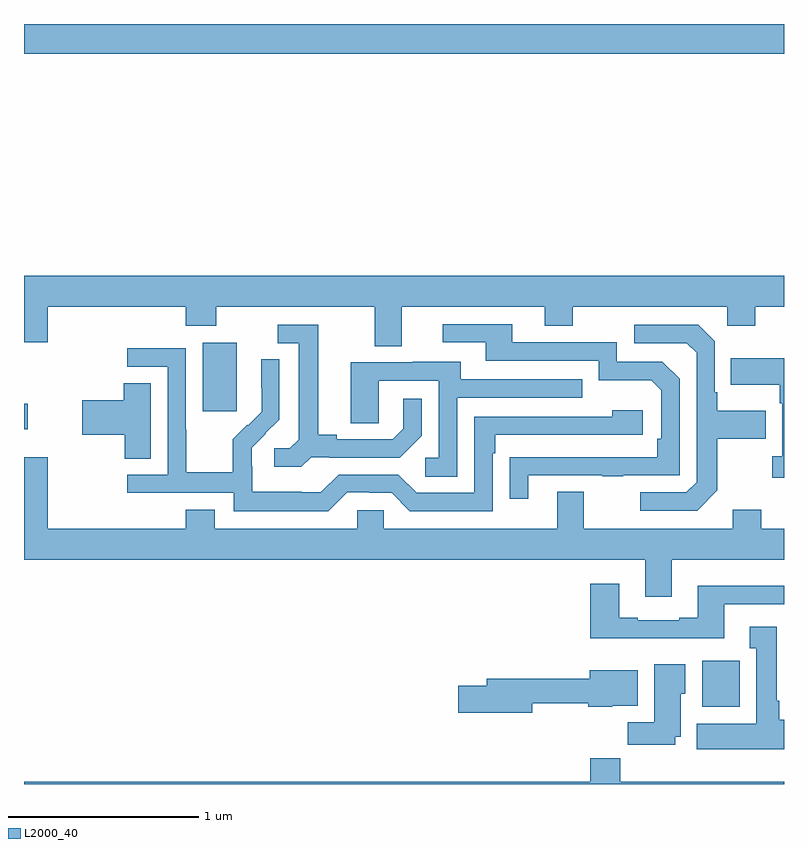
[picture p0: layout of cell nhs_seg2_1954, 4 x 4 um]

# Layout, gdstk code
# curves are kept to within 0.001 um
import gdstk
lib = gdstk.Library(unit=1e-6, precision=1e-09)
def R(c, l, rs):  # rectangles x0, y0, x1, y1
    for r in rs: c.add(gdstk.rectangle(r[:2], r[2:], *l))
def P(c, l, *ps):  # polygons
    for p in ps: c.add(gdstk.Polygon(p, *l))
L2000_40 = (2000, 40)

nhs_seg2_1954 = lib.new_cell('nhs_seg2_1954')
R(nhs_seg2_1954, L2000_40, [(216.569,636.206,216.766,636.448), (213,637.667,213.019,637.802), (213.941,637.761,214.12,638.122), (213,639.644,217,639.8)])
P(nhs_seg2_1954, L2000_40, [(214.987,638.312),(215.741,638.312),(215.741,638.213),(215.889,638.213),(215.889,638.312),(216.702,638.312),(216.702,638.213),(216.849,638.213),(216.849,638.312),(217,638.312),(217,638.476),(213,638.476),(213,638.124),(213.124,638.124),(213.124,638.312),(213.851,638.312),(213.851,638.213),(214.011,638.213),(214.011,638.312),(214.847,638.312),(214.847,638.104),(214.987,638.104)],
  [(215.653,637.425),(216.043,637.425),(216.043,637.42),(216.155,637.42),(216.155,637.425),(216.45,637.425),(216.45,637.932),(216.36,638.022),(216.12,638.022),(216.12,638.124),(215.569,638.124),(215.569,638.22),(215.205,638.22),(215.205,638.124),(215.429,638.124),(215.429,638.028),(216.024,638.028),(216.024,637.925),(216.301,637.925),(216.354,637.872),(216.354,637.618),(216.334,637.618),(216.334,637.521),(215.557,637.52),(215.557,637.302),(215.653,637.302)],
  [(214.512,637.521),(214.606,637.521),(214.606,637.518),(214.978,637.518),(215.094,637.634),(215.094,637.828),(214.997,637.828),(214.997,637.671),(214.94,637.614),(214.645,637.614),(214.645,637.637),(214.549,637.637),(214.549,638.217),(214.335,638.217),(214.335,638.121),(214.445,638.121),(214.445,637.613),(214.398,637.566),(214.317,637.566),(214.317,637.469),(214.46,637.469)],
  [(216.649,637.345),(216.649,637.618),(216.905,637.618),(216.905,637.765),(216.649,637.765),(216.649,637.861),(216.636,637.861),(216.636,638.13),(216.549,638.217),(216.213,638.217),(216.213,638.121),(216.489,638.121),(216.54,638.07),(216.54,637.389),(216.486,637.335),(216.243,637.335),(216.243,637.239),(216.543,637.239)],
  [(214.701,637.335),(214.817,637.335),(214.817,637.332),(214.935,637.332),(215.031,637.236),(215.466,637.236),(215.466,637.541),(215.479,637.541),(215.479,637.638),(216.256,637.638),(216.256,637.768),(216.095,637.768),(216.095,637.734),(215.37,637.734),(215.37,637.332),(215.067,637.332),(214.971,637.428),(214.656,637.428),(214.563,637.335),(214.463,637.335),(214.463,637.339),(214.2,637.339),(214.2,637.473),(214.198,637.473),(214.198,637.57),(214.344,637.718),(214.344,638.036),(214.248,638.036),(214.248,637.882),(214.25,637.882),(214.25,637.76),(214.179,637.689),(214.176,637.692),(214.099,637.615),(214.099,637.441),(213.855,637.441),(213.855,637.664),(213.852,637.664),(213.852,638.094),(213.543,638.094),(213.543,637.995),(213.756,637.995),(213.756,637.428),(213.543,637.428),(213.543,637.332),(214.104,637.332),(214.104,637.235),(214.601,637.235)],
  [(217,638.041),(216.721,638.041),(216.721,637.901),(216.978,637.901),(216.978,637.805),(216.99,637.805),(216.99,637.526),(216.939,637.526),(216.939,637.413),(217,637.413)],
  [(215.28,637.833),(215.939,637.833),(215.939,637.929),(215.299,637.929),(215.299,638.023),(215.045,638.023),(215.045,638.019),(214.721,638.019),(214.721,637.699),(214.866,637.699),(214.866,637.923),(215.184,637.923),(215.184,637.518),(215.112,637.518),(215.112,637.417),(215.28,637.417)],
  [(213.667,637.91),(213.524,637.91),(213.524,637.82),(213.306,637.82),(213.306,637.637),(213.529,637.637),(213.529,637.513),(213.667,637.513)],
  [(216.409,636.98),(217,636.98),(217,637.144),(216.879,637.144),(216.879,637.243),(216.731,637.243),(216.731,637.144),(215.947,637.144),(215.947,637.339),(215.807,637.339),(215.807,637.144),(214.893,637.144),(214.893,637.242),(214.755,637.242),(214.755,637.144),(214.003,637.144),(214.003,637.243),(213.851,637.243),(213.851,637.144),(213.124,637.144),(213.124,637.519),(213,637.519),(213,636.98),(216.269,636.98),(216.269,636.786),(216.409,636.786)],
  [(216.685,636.747),(217,636.747),(217,636.844),(216.545,636.844),(216.545,636.676),(216.449,636.676),(216.449,636.663),(216.229,636.663),(216.229,636.676),(216.133,636.676),(216.133,636.853),(215.981,636.853),(215.981,636.566),(216.685,636.566)],
  [(217,636.138),(216.976,636.138),(216.976,636.238),(216.961,636.238),(216.961,636.628),(216.821,636.628),(216.821,636.515),(216.854,636.515),(216.854,636.118),(216.542,636.118),(216.542,635.984),(217,635.984)],
  [(216.427,636.05),(216.457,636.05),(216.457,636.276),(216.481,636.276),(216.481,636.43),(216.317,636.43),(216.317,636.124),(216.178,636.124),(216.178,636.006),(216.427,636.006)],
  [(215.674,636.225),(215.971,636.225),(215.971,636.206),(216.096,636.206),(216.096,636.212),(216.229,636.212),(216.229,636.4),(215.978,636.4),(215.978,636.353),(215.435,636.353),(215.435,636.317),(215.286,636.317),(215.286,636.175),(215.674,636.175)],
  [(217,635.812),(216.137,635.812),(216.137,635.936),(215.981,635.936),(215.981,635.812),(213,635.812),(213,635.8),(217,635.8)])

lib.write_gds('nhs_seg2_1954.gds')
